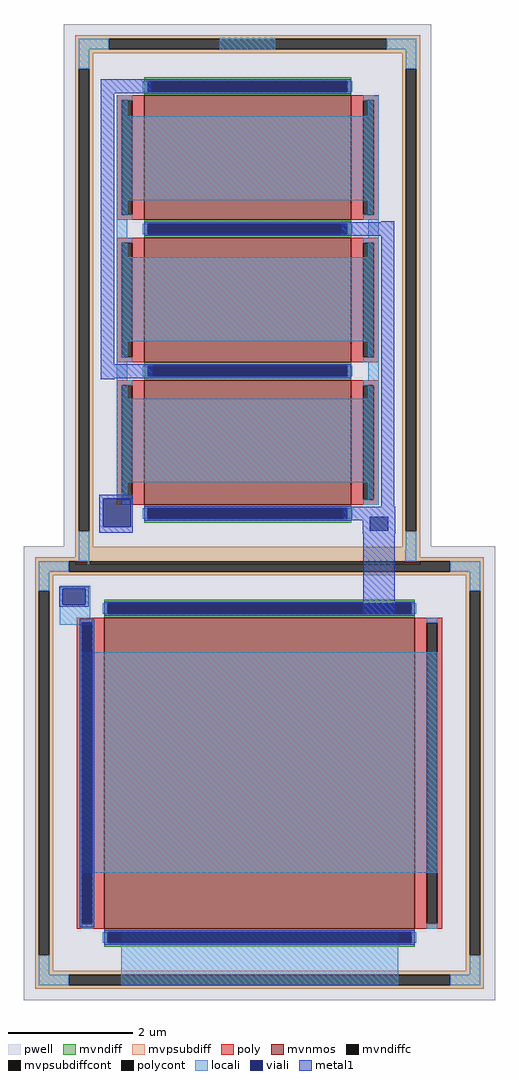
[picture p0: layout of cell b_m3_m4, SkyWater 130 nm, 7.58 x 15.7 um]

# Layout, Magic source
magic
tech sky130A
magscale 1 2
<< locali >>
rect 72 40 78 84
<< metal1 >>
rect 958 -122 1060 162
use c_m1  c_m1_0
transform 1 0 47 0 1 61
box -51 -59 1131 1717
use c_m2  c_m2_0
transform 1 0 -68 0 1 -1297
box -65 -65 1451 1395
<< end >>

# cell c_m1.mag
magic
tech sky130A
magscale 1 2
<< locali >>
rect 450 1634 628 1670
rect 118 1420 152 1488
rect 928 1420 962 1486
rect 118 1150 962 1420
rect 118 966 152 1150
rect 928 966 962 1150
rect 118 696 962 966
rect 118 512 152 696
rect 928 512 962 696
rect 118 242 962 512
rect 118 192 152 242
rect 74 190 162 192
rect 74 102 76 190
rect 928 170 962 242
<< viali >>
rect 76 100 164 190
<< metal1 >>
rect 68 1539 110 1540
rect 68 1495 229 1539
rect 68 622 110 1495
rect 970 1079 1012 1082
rect 843 1035 1012 1079
rect 68 578 233 622
rect 68 574 110 578
rect 62 190 170 202
rect 62 100 76 190
rect 164 100 170 190
rect 970 164 1012 1035
rect 848 120 1014 164
rect 62 80 170 100
rect 910 78 1014 120
use sky130_fd_pr__nfet_g5v0d10v5_JNX2ZR  sky130_fd_pr__nfet_g5v0d10v5_JNX2ZR_0
transform 0 1 540 -1 0 829
box -888 -591 888 591
<< labels >>
flabel metal1 96 1516 96 1516 0 FreeSans 1600 0 0 0 D
port 0 nsew
flabel viali 114 140 116 140 0 FreeSans 1600 0 0 0 G
port 1 nsew
flabel metal1 960 120 960 120 0 FreeSans 1600 0 0 0 S
port 2 nsew
flabel locali 536 1652 536 1652 0 FreeSans 1600 0 0 0 B
port 3 nsew
<< end >>

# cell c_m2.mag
magic
tech sky130A
magscale 1 2
<< locali >>
rect 51 1258 148 1268
rect 51 1206 60 1258
rect 132 1206 148 1258
rect 51 1142 148 1206
rect 122 344 1266 1054
rect 248 -16 1140 152
<< viali >>
rect 60 1206 132 1258
<< metal1 >>
rect 48 1258 144 1264
rect 48 1206 60 1258
rect 132 1206 144 1258
rect 48 1200 144 1206
use sky130_fd_pr__nfet_g5v0d10v5_Y3KDPX  sky130_fd_pr__nfet_g5v0d10v5_Y3KDPX_0
transform 0 1 693 -1 0 665
box -730 -758 730 758
<< labels >>
flabel space 692 1194 692 1194 0 FreeSans 800 0 0 0 D
port 0 nsew
flabel viali 92 1234 92 1234 0 FreeSans 800 0 0 0 G
port 1 nsew
flabel locali 896 132 896 132 0 FreeSans 800 0 0 0 S
port 2 nsew
flabel locali 290 -2 290 -2 0 FreeSans 800 0 0 0 B
port 3 nsew
<< end >>

# cell sky130_fd_pr__nfet_g5v0d10v5_Y3KDPX: kit device sky130_fd_pr__nfet_g5v0d10v5, w 5 l 5 m 1 nf 1 diffcov 100 polycov 100 guard 1 glc 1 grc 1 gtc 1 gbc 1 tbcov 100 rlcov 100 topc 1 botc 1 poverlap 0 doverlap 1 lmin 0.50 wmin 0.42 class mosfet compatible {sky130_fd_pr__nfet_01v8 sky130_fd_pr__nfet_01v8_lvt sky130_fd_bs_flash__special_sonosfet_star sky130_fd_pr__nfet_g5v0d10v5 sky130_fd_pr__nfet_05v0_nvt sky130_fd_pr__nfet_03v3_nvt} full_metal 1 conn_gates 0 viasrc 100 viadrn 100 viagate 100 viagb 0 viagr 0 viagl 0 viagt 0 doports 1

# cell sky130_fd_pr__nfet_g5v0d10v5_JNX2ZR: kit device sky130_fd_pr__nfet_g5v0d10v5, w 3.33 l 2 m 1 nf 3 diffcov 100 polycov 100 guard 1 glc 1 grc 1 gtc 1 gbc 1 tbcov 100 rlcov 100 topc 1 botc 1 poverlap 0 doverlap 1 lmin 0.50 wmin 0.42 class mosfet compatible {sky130_fd_pr__nfet_01v8 sky130_fd_pr__nfet_01v8_lvt sky130_fd_bs_flash__special_sonosfet_star sky130_fd_pr__nfet_g5v0d10v5 sky130_fd_pr__nfet_05v0_nvt sky130_fd_pr__nfet_03v3_nvt} full_metal 1 conn_gates 0 viasrc 100 viadrn 100 viagate 100 viagb 0 viagr 0 viagl 0 viagt 0 doports 1
